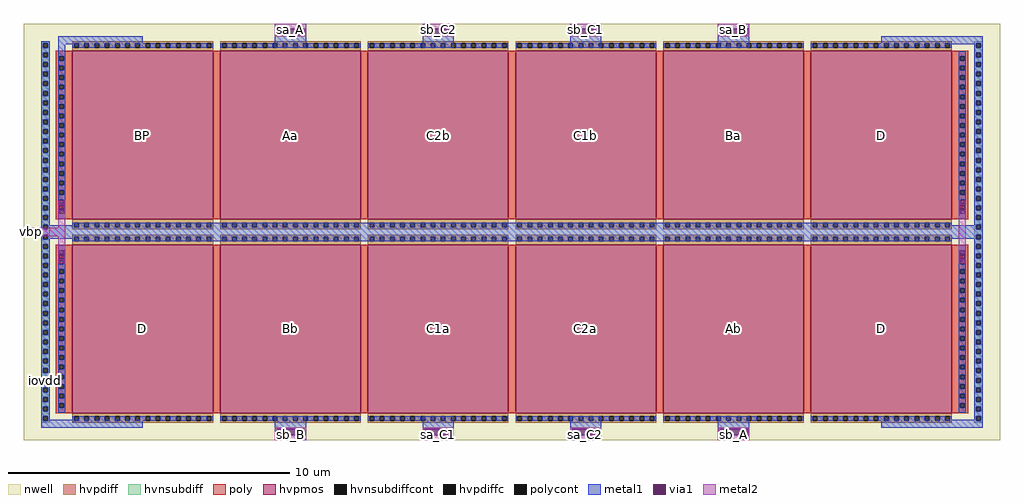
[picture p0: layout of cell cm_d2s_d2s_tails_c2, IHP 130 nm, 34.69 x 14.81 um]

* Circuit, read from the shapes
.subckt cm_d2s_d2s_tails_c2 vbp sb_B sa_C1 sa_C2 sb_A sa_A sb_C2 sb_C1 sa_B iovdd
XM1 iovdd vbp iovdd iovdd sg13_hv_pmos w=5u l=6u m=3
XM2 vbp vbp iovdd iovdd sg13_hv_pmos w=5u l=6u
XM3 iovdd vbp sb_B iovdd sg13_hv_pmos w=5u l=6u
XM4 sa_A vbp iovdd iovdd sg13_hv_pmos w=5u l=6u
XM5 iovdd vbp sa_C1 iovdd sg13_hv_pmos w=5u l=6u
XM6 sb_C2 vbp iovdd iovdd sg13_hv_pmos w=5u l=6u
XM7 iovdd vbp sa_C2 iovdd sg13_hv_pmos w=5u l=6u
XM8 sb_C1 vbp iovdd iovdd sg13_hv_pmos w=5u l=6u
XM9 iovdd vbp sb_A iovdd sg13_hv_pmos w=5u l=6u
XM10 sa_B vbp iovdd iovdd sg13_hv_pmos w=5u l=6u
.ends

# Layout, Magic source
magic
tech ihp-sg13cmos5l
magscale 1 2
<< nwell >>
rect 0 0 6938 2962
<< hvnsubdiff >>
rect 124 2823 184 2838
rect 124 2791 138 2823
rect 170 2791 184 2823
rect 124 2755 184 2791
rect 6754 2823 6814 2838
rect 6754 2791 6768 2823
rect 6800 2791 6814 2823
rect 124 2723 138 2755
rect 170 2723 184 2755
rect 124 2687 184 2723
rect 124 2655 138 2687
rect 170 2655 184 2687
rect 124 2619 184 2655
rect 124 2587 138 2619
rect 170 2587 184 2619
rect 124 2551 184 2587
rect 124 2519 138 2551
rect 170 2519 184 2551
rect 124 2483 184 2519
rect 124 2451 138 2483
rect 170 2451 184 2483
rect 124 2415 184 2451
rect 124 2383 138 2415
rect 170 2383 184 2415
rect 124 2347 184 2383
rect 124 2315 138 2347
rect 170 2315 184 2347
rect 124 2279 184 2315
rect 124 2247 138 2279
rect 170 2247 184 2279
rect 124 2211 184 2247
rect 124 2179 138 2211
rect 170 2179 184 2211
rect 124 2143 184 2179
rect 124 2111 138 2143
rect 170 2111 184 2143
rect 124 2075 184 2111
rect 124 2043 138 2075
rect 170 2043 184 2075
rect 124 2007 184 2043
rect 124 1975 138 2007
rect 170 1975 184 2007
rect 124 1939 184 1975
rect 124 1907 138 1939
rect 170 1907 184 1939
rect 124 1871 184 1907
rect 124 1839 138 1871
rect 170 1839 184 1871
rect 124 1803 184 1839
rect 124 1771 138 1803
rect 170 1771 184 1803
rect 124 1735 184 1771
rect 124 1703 138 1735
rect 170 1703 184 1735
rect 124 1667 184 1703
rect 124 1635 138 1667
rect 170 1635 184 1667
rect 124 1599 184 1635
rect 124 1567 138 1599
rect 170 1567 184 1599
rect 6754 2755 6814 2791
rect 6754 2723 6768 2755
rect 6800 2723 6814 2755
rect 6754 2687 6814 2723
rect 6754 2655 6768 2687
rect 6800 2655 6814 2687
rect 6754 2619 6814 2655
rect 6754 2587 6768 2619
rect 6800 2587 6814 2619
rect 6754 2551 6814 2587
rect 6754 2519 6768 2551
rect 6800 2519 6814 2551
rect 6754 2483 6814 2519
rect 6754 2451 6768 2483
rect 6800 2451 6814 2483
rect 6754 2415 6814 2451
rect 6754 2383 6768 2415
rect 6800 2383 6814 2415
rect 6754 2347 6814 2383
rect 6754 2315 6768 2347
rect 6800 2315 6814 2347
rect 6754 2279 6814 2315
rect 6754 2247 6768 2279
rect 6800 2247 6814 2279
rect 6754 2211 6814 2247
rect 6754 2179 6768 2211
rect 6800 2179 6814 2211
rect 6754 2143 6814 2179
rect 6754 2111 6768 2143
rect 6800 2111 6814 2143
rect 6754 2075 6814 2111
rect 6754 2043 6768 2075
rect 6800 2043 6814 2075
rect 6754 2007 6814 2043
rect 6754 1975 6768 2007
rect 6800 1975 6814 2007
rect 6754 1939 6814 1975
rect 6754 1907 6768 1939
rect 6800 1907 6814 1939
rect 6754 1871 6814 1907
rect 6754 1839 6768 1871
rect 6800 1839 6814 1871
rect 6754 1803 6814 1839
rect 6754 1771 6768 1803
rect 6800 1771 6814 1803
rect 6754 1735 6814 1771
rect 6754 1703 6768 1735
rect 6800 1703 6814 1735
rect 6754 1667 6814 1703
rect 6754 1635 6768 1667
rect 6800 1635 6814 1667
rect 6754 1599 6814 1635
rect 124 1531 184 1567
rect 124 1499 138 1531
rect 170 1499 184 1531
rect 124 1463 184 1499
rect 124 1431 138 1463
rect 170 1431 184 1463
rect 124 1395 184 1431
rect 124 1363 138 1395
rect 170 1363 184 1395
rect 6754 1567 6768 1599
rect 6800 1567 6814 1599
rect 6754 1531 6814 1567
rect 6754 1499 6768 1531
rect 6800 1499 6814 1531
rect 6754 1463 6814 1499
rect 6754 1431 6768 1463
rect 6800 1431 6814 1463
rect 6754 1395 6814 1431
rect 124 1327 184 1363
rect 124 1295 138 1327
rect 170 1295 184 1327
rect 124 1259 184 1295
rect 124 1227 138 1259
rect 170 1227 184 1259
rect 124 1191 184 1227
rect 124 1159 138 1191
rect 170 1159 184 1191
rect 124 1123 184 1159
rect 124 1091 138 1123
rect 170 1091 184 1123
rect 124 1055 184 1091
rect 124 1023 138 1055
rect 170 1023 184 1055
rect 124 987 184 1023
rect 124 955 138 987
rect 170 955 184 987
rect 124 919 184 955
rect 124 887 138 919
rect 170 887 184 919
rect 124 851 184 887
rect 124 819 138 851
rect 170 819 184 851
rect 124 783 184 819
rect 124 751 138 783
rect 170 751 184 783
rect 124 715 184 751
rect 124 683 138 715
rect 170 683 184 715
rect 124 647 184 683
rect 124 615 138 647
rect 170 615 184 647
rect 124 579 184 615
rect 124 547 138 579
rect 170 547 184 579
rect 124 511 184 547
rect 124 479 138 511
rect 170 479 184 511
rect 124 443 184 479
rect 124 411 138 443
rect 170 411 184 443
rect 124 375 184 411
rect 124 343 138 375
rect 170 343 184 375
rect 124 307 184 343
rect 124 275 138 307
rect 170 275 184 307
rect 124 239 184 275
rect 124 207 138 239
rect 170 207 184 239
rect 124 171 184 207
rect 6754 1363 6768 1395
rect 6800 1363 6814 1395
rect 6754 1327 6814 1363
rect 6754 1295 6768 1327
rect 6800 1295 6814 1327
rect 6754 1259 6814 1295
rect 6754 1227 6768 1259
rect 6800 1227 6814 1259
rect 6754 1191 6814 1227
rect 6754 1159 6768 1191
rect 6800 1159 6814 1191
rect 6754 1123 6814 1159
rect 6754 1091 6768 1123
rect 6800 1091 6814 1123
rect 6754 1055 6814 1091
rect 6754 1023 6768 1055
rect 6800 1023 6814 1055
rect 6754 987 6814 1023
rect 6754 955 6768 987
rect 6800 955 6814 987
rect 6754 919 6814 955
rect 6754 887 6768 919
rect 6800 887 6814 919
rect 6754 851 6814 887
rect 6754 819 6768 851
rect 6800 819 6814 851
rect 6754 783 6814 819
rect 6754 751 6768 783
rect 6800 751 6814 783
rect 6754 715 6814 751
rect 6754 683 6768 715
rect 6800 683 6814 715
rect 6754 647 6814 683
rect 6754 615 6768 647
rect 6800 615 6814 647
rect 6754 579 6814 615
rect 6754 547 6768 579
rect 6800 547 6814 579
rect 6754 511 6814 547
rect 6754 479 6768 511
rect 6800 479 6814 511
rect 6754 443 6814 479
rect 6754 411 6768 443
rect 6800 411 6814 443
rect 6754 375 6814 411
rect 6754 343 6768 375
rect 6800 343 6814 375
rect 6754 307 6814 343
rect 6754 275 6768 307
rect 6800 275 6814 307
rect 6754 239 6814 275
rect 6754 207 6768 239
rect 6800 207 6814 239
rect 124 139 138 171
rect 170 139 184 171
rect 124 124 184 139
rect 6754 171 6814 207
rect 6754 139 6768 171
rect 6800 139 6814 171
rect 6754 124 6814 139
<< hvnsubdiffcont >>
rect 138 2791 170 2823
rect 6768 2791 6800 2823
rect 138 2723 170 2755
rect 138 2655 170 2687
rect 138 2587 170 2619
rect 138 2519 170 2551
rect 138 2451 170 2483
rect 138 2383 170 2415
rect 138 2315 170 2347
rect 138 2247 170 2279
rect 138 2179 170 2211
rect 138 2111 170 2143
rect 138 2043 170 2075
rect 138 1975 170 2007
rect 138 1907 170 1939
rect 138 1839 170 1871
rect 138 1771 170 1803
rect 138 1703 170 1735
rect 138 1635 170 1667
rect 138 1567 170 1599
rect 6768 2723 6800 2755
rect 6768 2655 6800 2687
rect 6768 2587 6800 2619
rect 6768 2519 6800 2551
rect 6768 2451 6800 2483
rect 6768 2383 6800 2415
rect 6768 2315 6800 2347
rect 6768 2247 6800 2279
rect 6768 2179 6800 2211
rect 6768 2111 6800 2143
rect 6768 2043 6800 2075
rect 6768 1975 6800 2007
rect 6768 1907 6800 1939
rect 6768 1839 6800 1871
rect 6768 1771 6800 1803
rect 6768 1703 6800 1735
rect 6768 1635 6800 1667
rect 138 1499 170 1531
rect 138 1431 170 1463
rect 138 1363 170 1395
rect 6768 1567 6800 1599
rect 6768 1499 6800 1531
rect 6768 1431 6800 1463
rect 138 1295 170 1327
rect 138 1227 170 1259
rect 138 1159 170 1191
rect 138 1091 170 1123
rect 138 1023 170 1055
rect 138 955 170 987
rect 138 887 170 919
rect 138 819 170 851
rect 138 751 170 783
rect 138 683 170 715
rect 138 615 170 647
rect 138 547 170 579
rect 138 479 170 511
rect 138 411 170 443
rect 138 343 170 375
rect 138 275 170 307
rect 138 207 170 239
rect 6768 1363 6800 1395
rect 6768 1295 6800 1327
rect 6768 1227 6800 1259
rect 6768 1159 6800 1191
rect 6768 1091 6800 1123
rect 6768 1023 6800 1055
rect 6768 955 6800 987
rect 6768 887 6800 919
rect 6768 819 6800 851
rect 6768 751 6800 783
rect 6768 683 6800 715
rect 6768 615 6800 647
rect 6768 547 6800 579
rect 6768 479 6800 511
rect 6768 411 6800 443
rect 6768 343 6800 375
rect 6768 275 6800 307
rect 6768 207 6800 239
rect 138 139 170 171
rect 6768 139 6800 171
<< poly >>
rect 224 2730 344 2770
rect 224 2698 252 2730
rect 284 2698 344 2730
rect 224 2662 344 2698
rect 224 2630 252 2662
rect 284 2630 344 2662
rect 224 2594 344 2630
rect 224 2562 252 2594
rect 284 2562 344 2594
rect 224 2526 344 2562
rect 224 2494 252 2526
rect 284 2494 344 2526
rect 224 2458 344 2494
rect 224 2426 252 2458
rect 284 2426 344 2458
rect 224 2390 344 2426
rect 224 2358 252 2390
rect 284 2358 344 2390
rect 224 2322 344 2358
rect 224 2290 252 2322
rect 284 2290 344 2322
rect 224 2254 344 2290
rect 224 2222 252 2254
rect 284 2222 344 2254
rect 224 2186 344 2222
rect 224 2154 252 2186
rect 284 2154 344 2186
rect 224 2118 344 2154
rect 224 2086 252 2118
rect 284 2086 344 2118
rect 224 2050 344 2086
rect 224 2018 252 2050
rect 284 2018 344 2050
rect 224 1982 344 2018
rect 224 1950 252 1982
rect 284 1950 344 1982
rect 224 1914 344 1950
rect 224 1882 252 1914
rect 284 1882 344 1914
rect 224 1846 344 1882
rect 224 1814 252 1846
rect 284 1814 344 1846
rect 224 1778 344 1814
rect 224 1746 252 1778
rect 284 1746 344 1778
rect 224 1710 344 1746
rect 224 1678 252 1710
rect 284 1678 344 1710
rect 224 1642 344 1678
rect 224 1610 252 1642
rect 284 1610 344 1642
rect 224 1570 344 1610
rect 6594 2730 6714 2770
rect 6594 2698 6654 2730
rect 6686 2698 6714 2730
rect 6594 2662 6714 2698
rect 6594 2630 6654 2662
rect 6686 2630 6714 2662
rect 6594 2594 6714 2630
rect 6594 2562 6654 2594
rect 6686 2562 6714 2594
rect 6594 2526 6714 2562
rect 6594 2494 6654 2526
rect 6686 2494 6714 2526
rect 6594 2458 6714 2494
rect 6594 2426 6654 2458
rect 6686 2426 6714 2458
rect 6594 2390 6714 2426
rect 6594 2358 6654 2390
rect 6686 2358 6714 2390
rect 6594 2322 6714 2358
rect 6594 2290 6654 2322
rect 6686 2290 6714 2322
rect 6594 2254 6714 2290
rect 6594 2222 6654 2254
rect 6686 2222 6714 2254
rect 6594 2186 6714 2222
rect 6594 2154 6654 2186
rect 6686 2154 6714 2186
rect 6594 2118 6714 2154
rect 6594 2086 6654 2118
rect 6686 2086 6714 2118
rect 6594 2050 6714 2086
rect 6594 2018 6654 2050
rect 6686 2018 6714 2050
rect 6594 1982 6714 2018
rect 6594 1950 6654 1982
rect 6686 1950 6714 1982
rect 6594 1914 6714 1950
rect 6594 1882 6654 1914
rect 6686 1882 6714 1914
rect 6594 1846 6714 1882
rect 6594 1814 6654 1846
rect 6686 1814 6714 1846
rect 6594 1778 6714 1814
rect 6594 1746 6654 1778
rect 6686 1746 6714 1778
rect 6594 1710 6714 1746
rect 6594 1678 6654 1710
rect 6686 1678 6714 1710
rect 6594 1642 6714 1678
rect 6594 1610 6654 1642
rect 6686 1610 6714 1642
rect 6594 1570 6714 1610
rect 224 1352 344 1392
rect 224 1320 252 1352
rect 284 1320 344 1352
rect 224 1284 344 1320
rect 224 1252 252 1284
rect 284 1252 344 1284
rect 224 1216 344 1252
rect 224 1184 252 1216
rect 284 1184 344 1216
rect 224 1148 344 1184
rect 224 1116 252 1148
rect 284 1116 344 1148
rect 224 1080 344 1116
rect 224 1048 252 1080
rect 284 1048 344 1080
rect 224 1012 344 1048
rect 224 980 252 1012
rect 284 980 344 1012
rect 224 944 344 980
rect 224 912 252 944
rect 284 912 344 944
rect 224 876 344 912
rect 224 844 252 876
rect 284 844 344 876
rect 224 808 344 844
rect 224 776 252 808
rect 284 776 344 808
rect 224 740 344 776
rect 224 708 252 740
rect 284 708 344 740
rect 224 672 344 708
rect 224 640 252 672
rect 284 640 344 672
rect 224 604 344 640
rect 224 572 252 604
rect 284 572 344 604
rect 224 536 344 572
rect 224 504 252 536
rect 284 504 344 536
rect 224 468 344 504
rect 224 436 252 468
rect 284 436 344 468
rect 224 400 344 436
rect 224 368 252 400
rect 284 368 344 400
rect 224 332 344 368
rect 224 300 252 332
rect 284 300 344 332
rect 224 264 344 300
rect 224 232 252 264
rect 284 232 344 264
rect 224 192 344 232
rect 6594 1352 6714 1392
rect 6594 1320 6654 1352
rect 6686 1320 6714 1352
rect 6594 1284 6714 1320
rect 6594 1252 6654 1284
rect 6686 1252 6714 1284
rect 6594 1216 6714 1252
rect 6594 1184 6654 1216
rect 6686 1184 6714 1216
rect 6594 1148 6714 1184
rect 6594 1116 6654 1148
rect 6686 1116 6714 1148
rect 6594 1080 6714 1116
rect 6594 1048 6654 1080
rect 6686 1048 6714 1080
rect 6594 1012 6714 1048
rect 6594 980 6654 1012
rect 6686 980 6714 1012
rect 6594 944 6714 980
rect 6594 912 6654 944
rect 6686 912 6714 944
rect 6594 876 6714 912
rect 6594 844 6654 876
rect 6686 844 6714 876
rect 6594 808 6714 844
rect 6594 776 6654 808
rect 6686 776 6714 808
rect 6594 740 6714 776
rect 6594 708 6654 740
rect 6686 708 6714 740
rect 6594 672 6714 708
rect 6594 640 6654 672
rect 6686 640 6714 672
rect 6594 604 6714 640
rect 6594 572 6654 604
rect 6686 572 6714 604
rect 6594 536 6714 572
rect 6594 504 6654 536
rect 6686 504 6714 536
rect 6594 468 6714 504
rect 6594 436 6654 468
rect 6686 436 6714 468
rect 6594 400 6714 436
rect 6594 368 6654 400
rect 6686 368 6714 400
rect 6594 332 6714 368
rect 6594 300 6654 332
rect 6686 300 6714 332
rect 6594 264 6714 300
rect 6594 232 6654 264
rect 6686 232 6714 264
rect 6594 192 6714 232
<< polycont >>
rect 252 2698 284 2730
rect 252 2630 284 2662
rect 252 2562 284 2594
rect 252 2494 284 2526
rect 252 2426 284 2458
rect 252 2358 284 2390
rect 252 2290 284 2322
rect 252 2222 284 2254
rect 252 2154 284 2186
rect 252 2086 284 2118
rect 252 2018 284 2050
rect 252 1950 284 1982
rect 252 1882 284 1914
rect 252 1814 284 1846
rect 252 1746 284 1778
rect 252 1678 284 1710
rect 252 1610 284 1642
rect 6654 2698 6686 2730
rect 6654 2630 6686 2662
rect 6654 2562 6686 2594
rect 6654 2494 6686 2526
rect 6654 2426 6686 2458
rect 6654 2358 6686 2390
rect 6654 2290 6686 2322
rect 6654 2222 6686 2254
rect 6654 2154 6686 2186
rect 6654 2086 6686 2118
rect 6654 2018 6686 2050
rect 6654 1950 6686 1982
rect 6654 1882 6686 1914
rect 6654 1814 6686 1846
rect 6654 1746 6686 1778
rect 6654 1678 6686 1710
rect 6654 1610 6686 1642
rect 252 1320 284 1352
rect 252 1252 284 1284
rect 252 1184 284 1216
rect 252 1116 284 1148
rect 252 1048 284 1080
rect 252 980 284 1012
rect 252 912 284 944
rect 252 844 284 876
rect 252 776 284 808
rect 252 708 284 740
rect 252 640 284 672
rect 252 572 284 604
rect 252 504 284 536
rect 252 436 284 468
rect 252 368 284 400
rect 252 300 284 332
rect 252 232 284 264
rect 6654 1320 6686 1352
rect 6654 1252 6686 1284
rect 6654 1184 6686 1216
rect 6654 1116 6686 1148
rect 6654 1048 6686 1080
rect 6654 980 6686 1012
rect 6654 912 6686 944
rect 6654 844 6686 876
rect 6654 776 6686 808
rect 6654 708 6686 740
rect 6654 640 6686 672
rect 6654 572 6686 604
rect 6654 504 6686 536
rect 6654 436 6686 468
rect 6654 368 6686 400
rect 6654 300 6686 332
rect 6654 232 6686 264
<< metal1 >>
rect 1783 2922 2005 2931
rect 1783 2882 1792 2922
rect 1996 2882 2005 2922
rect 124 2823 184 2838
rect 124 2791 138 2823
rect 170 2791 184 2823
rect 124 2755 184 2791
rect 124 2723 138 2755
rect 170 2723 184 2755
rect 124 2687 184 2723
rect 124 2655 138 2687
rect 170 2655 184 2687
rect 124 2619 184 2655
rect 124 2587 138 2619
rect 170 2587 184 2619
rect 124 2551 184 2587
rect 124 2519 138 2551
rect 170 2519 184 2551
rect 124 2483 184 2519
rect 124 2451 138 2483
rect 170 2451 184 2483
rect 124 2415 184 2451
rect 124 2383 138 2415
rect 170 2383 184 2415
rect 124 2347 184 2383
rect 124 2315 138 2347
rect 170 2315 184 2347
rect 124 2279 184 2315
rect 124 2247 138 2279
rect 170 2247 184 2279
rect 124 2211 184 2247
rect 124 2179 138 2211
rect 170 2179 184 2211
rect 124 2143 184 2179
rect 124 2111 138 2143
rect 170 2111 184 2143
rect 124 2075 184 2111
rect 124 2043 138 2075
rect 170 2043 184 2075
rect 124 2007 184 2043
rect 124 1975 138 2007
rect 170 1975 184 2007
rect 124 1939 184 1975
rect 124 1907 138 1939
rect 170 1907 184 1939
rect 124 1871 184 1907
rect 124 1839 138 1871
rect 170 1839 184 1871
rect 124 1803 184 1839
rect 124 1771 138 1803
rect 170 1771 184 1803
rect 124 1735 184 1771
rect 124 1703 138 1735
rect 170 1703 184 1735
rect 124 1667 184 1703
rect 124 1635 138 1667
rect 170 1635 184 1667
rect 124 1599 184 1635
rect 124 1567 138 1599
rect 170 1567 184 1599
rect 242 2814 844 2872
rect 242 2730 294 2814
rect 1783 2792 2005 2882
rect 2833 2922 3055 2931
rect 2833 2882 2842 2922
rect 3046 2882 3055 2922
rect 2833 2792 3055 2882
rect 3883 2922 4105 2931
rect 3883 2882 3892 2922
rect 4096 2882 4105 2922
rect 3883 2792 4105 2882
rect 4933 2922 5155 2931
rect 4933 2882 4942 2922
rect 5146 2882 5155 2922
rect 4933 2792 5155 2882
rect 6094 2823 6814 2872
rect 6094 2814 6768 2823
rect 6754 2791 6768 2814
rect 6800 2791 6814 2823
rect 242 2698 252 2730
rect 284 2698 294 2730
rect 242 2662 294 2698
rect 242 2630 252 2662
rect 284 2630 294 2662
rect 242 2594 294 2630
rect 242 2562 252 2594
rect 284 2562 294 2594
rect 242 2526 294 2562
rect 242 2494 252 2526
rect 284 2494 294 2526
rect 242 2458 294 2494
rect 242 2426 252 2458
rect 284 2426 294 2458
rect 242 2390 294 2426
rect 242 2358 252 2390
rect 284 2358 294 2390
rect 242 2322 294 2358
rect 242 2290 252 2322
rect 284 2290 294 2322
rect 242 2254 294 2290
rect 242 2222 252 2254
rect 284 2222 294 2254
rect 242 2186 294 2222
rect 242 2154 252 2186
rect 284 2154 294 2186
rect 242 2118 294 2154
rect 242 2086 252 2118
rect 284 2086 294 2118
rect 242 2050 294 2086
rect 242 2018 252 2050
rect 284 2018 294 2050
rect 242 1982 294 2018
rect 242 1950 252 1982
rect 284 1950 294 1982
rect 242 1914 294 1950
rect 242 1882 252 1914
rect 284 1882 294 1914
rect 242 1846 294 1882
rect 242 1814 252 1846
rect 284 1814 294 1846
rect 242 1778 294 1814
rect 242 1746 252 1778
rect 284 1746 294 1778
rect 242 1710 294 1746
rect 242 1678 252 1710
rect 284 1678 294 1710
rect 242 1673 294 1678
rect 242 1633 248 1673
rect 288 1633 294 1673
rect 242 1610 252 1633
rect 284 1610 294 1633
rect 242 1574 294 1610
rect 6644 2730 6696 2766
rect 6644 2698 6654 2730
rect 6686 2698 6696 2730
rect 6644 2662 6696 2698
rect 6644 2630 6654 2662
rect 6686 2630 6696 2662
rect 6644 2594 6696 2630
rect 6644 2562 6654 2594
rect 6686 2562 6696 2594
rect 6644 2526 6696 2562
rect 6644 2494 6654 2526
rect 6686 2494 6696 2526
rect 6644 2458 6696 2494
rect 6644 2426 6654 2458
rect 6686 2426 6696 2458
rect 6644 2390 6696 2426
rect 6644 2358 6654 2390
rect 6686 2358 6696 2390
rect 6644 2322 6696 2358
rect 6644 2290 6654 2322
rect 6686 2290 6696 2322
rect 6644 2254 6696 2290
rect 6644 2222 6654 2254
rect 6686 2222 6696 2254
rect 6644 2186 6696 2222
rect 6644 2154 6654 2186
rect 6686 2154 6696 2186
rect 6644 2118 6696 2154
rect 6644 2086 6654 2118
rect 6686 2086 6696 2118
rect 6644 2050 6696 2086
rect 6644 2018 6654 2050
rect 6686 2018 6696 2050
rect 6644 1982 6696 2018
rect 6644 1950 6654 1982
rect 6686 1950 6696 1982
rect 6644 1914 6696 1950
rect 6644 1882 6654 1914
rect 6686 1882 6696 1914
rect 6644 1846 6696 1882
rect 6644 1814 6654 1846
rect 6686 1814 6696 1846
rect 6644 1778 6696 1814
rect 6644 1746 6654 1778
rect 6686 1746 6696 1778
rect 6644 1710 6696 1746
rect 6644 1678 6654 1710
rect 6686 1678 6696 1710
rect 6644 1673 6696 1678
rect 6644 1633 6650 1673
rect 6690 1633 6696 1673
rect 6644 1610 6654 1633
rect 6686 1610 6696 1633
rect 6644 1574 6696 1610
rect 6754 2755 6814 2791
rect 6754 2723 6768 2755
rect 6800 2723 6814 2755
rect 6754 2687 6814 2723
rect 6754 2655 6768 2687
rect 6800 2655 6814 2687
rect 6754 2619 6814 2655
rect 6754 2587 6768 2619
rect 6800 2587 6814 2619
rect 6754 2551 6814 2587
rect 6754 2519 6768 2551
rect 6800 2519 6814 2551
rect 6754 2483 6814 2519
rect 6754 2451 6768 2483
rect 6800 2451 6814 2483
rect 6754 2415 6814 2451
rect 6754 2383 6768 2415
rect 6800 2383 6814 2415
rect 6754 2347 6814 2383
rect 6754 2315 6768 2347
rect 6800 2315 6814 2347
rect 6754 2279 6814 2315
rect 6754 2247 6768 2279
rect 6800 2247 6814 2279
rect 6754 2211 6814 2247
rect 6754 2179 6768 2211
rect 6800 2179 6814 2211
rect 6754 2143 6814 2179
rect 6754 2111 6768 2143
rect 6800 2111 6814 2143
rect 6754 2075 6814 2111
rect 6754 2043 6768 2075
rect 6800 2043 6814 2075
rect 6754 2007 6814 2043
rect 6754 1975 6768 2007
rect 6800 1975 6814 2007
rect 6754 1939 6814 1975
rect 6754 1907 6768 1939
rect 6800 1907 6814 1939
rect 6754 1871 6814 1907
rect 6754 1839 6768 1871
rect 6800 1839 6814 1871
rect 6754 1803 6814 1839
rect 6754 1771 6768 1803
rect 6800 1771 6814 1803
rect 6754 1735 6814 1771
rect 6754 1703 6768 1735
rect 6800 1703 6814 1735
rect 6754 1667 6814 1703
rect 6754 1635 6768 1667
rect 6800 1635 6814 1667
rect 6754 1599 6814 1635
rect 124 1531 184 1567
rect 6754 1567 6768 1599
rect 6800 1567 6814 1599
rect 124 1499 138 1531
rect 170 1530 184 1531
rect 344 1530 6594 1548
rect 6754 1531 6814 1567
rect 6754 1530 6768 1531
rect 170 1499 6768 1530
rect 6800 1499 6814 1531
rect 124 1463 6814 1499
rect 124 1431 138 1463
rect 170 1432 6768 1463
rect 170 1431 184 1432
rect 124 1395 184 1431
rect 344 1414 6594 1432
rect 6754 1431 6768 1432
rect 6800 1431 6814 1463
rect 124 1363 138 1395
rect 170 1363 184 1395
rect 6754 1395 6814 1431
rect 124 1327 184 1363
rect 124 1295 138 1327
rect 170 1295 184 1327
rect 124 1259 184 1295
rect 124 1227 138 1259
rect 170 1227 184 1259
rect 124 1191 184 1227
rect 124 1159 138 1191
rect 170 1159 184 1191
rect 124 1123 184 1159
rect 124 1091 138 1123
rect 170 1091 184 1123
rect 124 1055 184 1091
rect 124 1023 138 1055
rect 170 1023 184 1055
rect 124 987 184 1023
rect 124 955 138 987
rect 170 955 184 987
rect 124 919 184 955
rect 124 887 138 919
rect 170 887 184 919
rect 124 851 184 887
rect 124 819 138 851
rect 170 819 184 851
rect 124 783 184 819
rect 124 751 138 783
rect 170 751 184 783
rect 124 715 184 751
rect 124 683 138 715
rect 170 683 184 715
rect 124 647 184 683
rect 124 615 138 647
rect 170 615 184 647
rect 124 579 184 615
rect 124 547 138 579
rect 170 547 184 579
rect 124 511 184 547
rect 124 479 138 511
rect 170 479 184 511
rect 124 443 184 479
rect 124 411 138 443
rect 170 411 184 443
rect 124 375 184 411
rect 124 343 138 375
rect 170 343 184 375
rect 124 307 184 343
rect 124 275 138 307
rect 170 275 184 307
rect 124 239 184 275
rect 124 207 138 239
rect 170 207 184 239
rect 124 171 184 207
rect 242 1352 294 1388
rect 242 1329 252 1352
rect 284 1329 294 1352
rect 242 1289 248 1329
rect 288 1289 294 1329
rect 242 1284 294 1289
rect 242 1252 252 1284
rect 284 1252 294 1284
rect 242 1216 294 1252
rect 242 1184 252 1216
rect 284 1184 294 1216
rect 242 1148 294 1184
rect 242 1116 252 1148
rect 284 1116 294 1148
rect 242 1080 294 1116
rect 242 1048 252 1080
rect 284 1048 294 1080
rect 242 1012 294 1048
rect 242 980 252 1012
rect 284 980 294 1012
rect 242 944 294 980
rect 242 912 252 944
rect 284 912 294 944
rect 242 876 294 912
rect 242 844 252 876
rect 284 844 294 876
rect 242 808 294 844
rect 242 776 252 808
rect 284 776 294 808
rect 242 740 294 776
rect 242 708 252 740
rect 284 708 294 740
rect 242 672 294 708
rect 242 640 252 672
rect 284 640 294 672
rect 242 604 294 640
rect 242 572 252 604
rect 284 572 294 604
rect 242 536 294 572
rect 242 504 252 536
rect 284 504 294 536
rect 242 468 294 504
rect 242 436 252 468
rect 284 436 294 468
rect 242 400 294 436
rect 242 368 252 400
rect 284 368 294 400
rect 242 332 294 368
rect 242 300 252 332
rect 284 300 294 332
rect 242 264 294 300
rect 242 232 252 264
rect 284 232 294 264
rect 242 196 294 232
rect 6644 1352 6696 1388
rect 6644 1329 6654 1352
rect 6686 1329 6696 1352
rect 6644 1289 6650 1329
rect 6690 1289 6696 1329
rect 6644 1284 6696 1289
rect 6644 1252 6654 1284
rect 6686 1252 6696 1284
rect 6644 1216 6696 1252
rect 6644 1184 6654 1216
rect 6686 1184 6696 1216
rect 6644 1148 6696 1184
rect 6644 1116 6654 1148
rect 6686 1116 6696 1148
rect 6644 1080 6696 1116
rect 6644 1048 6654 1080
rect 6686 1048 6696 1080
rect 6644 1012 6696 1048
rect 6644 980 6654 1012
rect 6686 980 6696 1012
rect 6644 944 6696 980
rect 6644 912 6654 944
rect 6686 912 6696 944
rect 6644 876 6696 912
rect 6644 844 6654 876
rect 6686 844 6696 876
rect 6644 808 6696 844
rect 6644 776 6654 808
rect 6686 776 6696 808
rect 6644 740 6696 776
rect 6644 708 6654 740
rect 6686 708 6696 740
rect 6644 672 6696 708
rect 6644 640 6654 672
rect 6686 640 6696 672
rect 6644 604 6696 640
rect 6644 572 6654 604
rect 6686 572 6696 604
rect 6644 536 6696 572
rect 6644 504 6654 536
rect 6686 504 6696 536
rect 6644 468 6696 504
rect 6644 436 6654 468
rect 6686 436 6696 468
rect 6644 400 6696 436
rect 6644 368 6654 400
rect 6686 368 6696 400
rect 6644 332 6696 368
rect 6644 300 6654 332
rect 6686 300 6696 332
rect 6644 264 6696 300
rect 6644 232 6654 264
rect 6686 232 6696 264
rect 6644 196 6696 232
rect 6754 1363 6768 1395
rect 6800 1363 6814 1395
rect 6754 1327 6814 1363
rect 6754 1295 6768 1327
rect 6800 1295 6814 1327
rect 6754 1259 6814 1295
rect 6754 1227 6768 1259
rect 6800 1227 6814 1259
rect 6754 1191 6814 1227
rect 6754 1159 6768 1191
rect 6800 1159 6814 1191
rect 6754 1123 6814 1159
rect 6754 1091 6768 1123
rect 6800 1091 6814 1123
rect 6754 1055 6814 1091
rect 6754 1023 6768 1055
rect 6800 1023 6814 1055
rect 6754 987 6814 1023
rect 6754 955 6768 987
rect 6800 955 6814 987
rect 6754 919 6814 955
rect 6754 887 6768 919
rect 6800 887 6814 919
rect 6754 851 6814 887
rect 6754 819 6768 851
rect 6800 819 6814 851
rect 6754 783 6814 819
rect 6754 751 6768 783
rect 6800 751 6814 783
rect 6754 715 6814 751
rect 6754 683 6768 715
rect 6800 683 6814 715
rect 6754 647 6814 683
rect 6754 615 6768 647
rect 6800 615 6814 647
rect 6754 579 6814 615
rect 6754 547 6768 579
rect 6800 547 6814 579
rect 6754 511 6814 547
rect 6754 479 6768 511
rect 6800 479 6814 511
rect 6754 443 6814 479
rect 6754 411 6768 443
rect 6800 411 6814 443
rect 6754 375 6814 411
rect 6754 343 6768 375
rect 6800 343 6814 375
rect 6754 307 6814 343
rect 6754 275 6768 307
rect 6800 275 6814 307
rect 6754 239 6814 275
rect 6754 207 6768 239
rect 6800 207 6814 239
rect 124 139 138 171
rect 170 148 184 171
rect 6754 171 6814 207
rect 170 139 844 148
rect 124 90 844 139
rect 1783 80 2005 170
rect 1783 40 1792 80
rect 1996 40 2005 80
rect 1783 31 2005 40
rect 2833 80 3055 170
rect 2833 40 2842 80
rect 3046 40 3055 80
rect 2833 31 3055 40
rect 3883 80 4105 170
rect 3883 40 3892 80
rect 4096 40 4105 80
rect 3883 31 4105 40
rect 4933 80 5155 170
rect 6754 148 6768 171
rect 6094 139 6768 148
rect 6800 139 6814 171
rect 6094 90 6814 139
rect 4933 40 4942 80
rect 5146 40 5155 80
rect 4933 31 5155 40
<< via1 >>
rect 1792 2882 1996 2922
rect 2842 2882 3046 2922
rect 3892 2882 4096 2922
rect 4942 2882 5146 2922
rect 248 1642 288 1673
rect 248 1633 252 1642
rect 252 1633 284 1642
rect 284 1633 288 1642
rect 6650 1642 6690 1673
rect 6650 1633 6654 1642
rect 6654 1633 6686 1642
rect 6686 1633 6690 1642
rect 248 1320 252 1329
rect 252 1320 284 1329
rect 284 1320 288 1329
rect 248 1289 288 1320
rect 6650 1320 6654 1329
rect 6654 1320 6686 1329
rect 6686 1320 6690 1329
rect 6650 1289 6690 1320
rect 1792 40 1996 80
rect 2842 40 3046 80
rect 3892 40 4096 80
rect 4942 40 5146 80
<< metal2 >>
rect 1783 2922 2005 2962
rect 1783 2882 1792 2922
rect 1996 2882 2005 2922
rect 1783 2873 2005 2882
rect 2833 2922 3055 2962
rect 2833 2882 2842 2922
rect 3046 2882 3055 2922
rect 2833 2873 3055 2882
rect 3883 2922 4105 2962
rect 3883 2882 3892 2922
rect 4096 2882 4105 2922
rect 3883 2873 4105 2882
rect 4933 2922 5155 2962
rect 4933 2882 4942 2922
rect 5146 2882 5155 2922
rect 4933 2873 5155 2882
rect 242 1673 294 1704
rect 242 1633 248 1673
rect 288 1633 294 1673
rect 242 1511 294 1633
rect 0 1451 294 1511
rect 242 1329 294 1451
rect 242 1289 248 1329
rect 288 1289 294 1329
rect 242 1258 294 1289
rect 6644 1673 6696 1704
rect 6644 1633 6650 1673
rect 6690 1633 6696 1673
rect 6644 1329 6696 1633
rect 6644 1289 6650 1329
rect 6690 1289 6696 1329
rect 6644 1258 6696 1289
rect 1783 80 2005 89
rect 1783 40 1792 80
rect 1996 40 2005 80
rect 1783 0 2005 40
rect 2833 80 3055 89
rect 2833 40 2842 80
rect 3046 40 3055 80
rect 2833 0 3055 40
rect 3883 80 4105 89
rect 3883 40 3892 80
rect 4096 40 4105 80
rect 3883 0 4105 40
rect 4933 80 5155 89
rect 4933 40 4942 80
rect 5146 40 5155 80
rect 4933 0 5155 40
use cm_d2s_pmosHV_w5_l6  cm_d2s_pmosHV_w5_l6_0
transform 0 -1 6594 -1 0 1460
box -124 -124 1460 1124
use cm_d2s_pmosHV_w5_l6  cm_d2s_pmosHV_w5_l6_1
transform 0 -1 5544 -1 0 1460
box -124 -124 1460 1124
use cm_d2s_pmosHV_w5_l6  cm_d2s_pmosHV_w5_l6_2
transform 0 -1 4494 -1 0 1460
box -124 -124 1460 1124
use cm_d2s_pmosHV_w5_l6  cm_d2s_pmosHV_w5_l6_3
transform 0 1 2444 1 0 1502
box -124 -124 1460 1124
use cm_d2s_pmosHV_w5_l6  cm_d2s_pmosHV_w5_l6_4
transform 0 1 1394 1 0 1502
box -124 -124 1460 1124
use cm_d2s_pmosHV_w5_l6  cm_d2s_pmosHV_w5_l6_5
transform 0 1 344 1 0 1502
box -124 -124 1460 1124
use cm_d2s_pmosHV_w5_l6  cm_d2s_pmosHV_w5_l6_6
transform 0 1 2444 -1 0 1460
box -124 -124 1460 1124
use cm_d2s_pmosHV_w5_l6  cm_d2s_pmosHV_w5_l6_7
transform 0 1 1394 -1 0 1460
box -124 -124 1460 1124
use cm_d2s_pmosHV_w5_l6  cm_d2s_pmosHV_w5_l6_8
transform 0 1 344 -1 0 1460
box -124 -124 1460 1124
use cm_d2s_pmosHV_w5_l6  cm_d2s_pmosHV_w5_l6_9
transform 0 -1 6594 1 0 1502
box -124 -124 1460 1124
use cm_d2s_pmosHV_w5_l6  cm_d2s_pmosHV_w5_l6_10
transform 0 -1 5544 1 0 1502
box -124 -124 1460 1124
use cm_d2s_pmosHV_w5_l6  cm_d2s_pmosHV_w5_l6_11
transform 0 -1 4494 1 0 1502
box -124 -124 1460 1124
<< labels >>
rlabel comment s 844 792 844 792 4 D
rlabel comment s 1894 792 1894 792 4 Bb
rlabel comment s 2944 792 2944 792 4 C1a
rlabel comment s 3994 792 3994 792 4 C2a
rlabel comment s 5044 792 5044 792 4 Ab
rlabel comment s 6094 792 6094 792 4 D
rlabel comment s 844 2170 844 2170 4 BP
rlabel comment s 1894 2170 1894 2170 4 Aa
rlabel comment s 2944 2170 2944 2170 4 C2b
rlabel comment s 3994 2170 3994 2170 4 C1b
rlabel comment s 5044 2170 5044 2170 4 Ba
rlabel comment s 6094 2170 6094 2170 4 D
rlabel metal2 s 0 1451 100 1511 4 vbp
port 2 nsew
rlabel metal2 s 1783 0 2005 89 4 sb_B
port 3 nsew
rlabel metal2 s 2833 0 3055 89 4 sa_C1
port 4 nsew
rlabel metal2 s 3883 0 4105 89 4 sa_C2
port 5 nsew
rlabel metal2 s 4933 0 5155 89 4 sb_A
port 6 nsew
rlabel metal2 s 1783 2873 2005 2962 4 sa_A
port 7 nsew
rlabel metal2 s 2833 2873 3055 2962 4 sb_C2
port 8 nsew
rlabel metal2 s 3883 2873 4105 2962 4 sb_C1
port 9 nsew
rlabel metal2 s 4933 2873 5155 2962 4 sa_B
port 10 nsew
rlabel metal1 s 124 224 184 624 4 iovdd
port 11 nsew
<< properties >>
string GDS_END 86470
string GDS_FILE custom_io/gds/sg13cmos5l_IOPadDiff2Single.uniq.gds
string GDS_START 70384
<< end >>

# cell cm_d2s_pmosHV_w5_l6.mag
magic
tech ihp-sg13cmos5l
magscale 1 2
<< nwell >>
rect -124 -124 1460 1124
<< hvpmos >>
rect 68 0 1268 1000
<< hvpdiff >>
rect 0 986 68 1000
rect 0 954 14 986
rect 46 954 68 986
rect 0 913 68 954
rect 0 881 14 913
rect 46 881 68 913
rect 0 841 68 881
rect 0 809 14 841
rect 46 809 68 841
rect 0 769 68 809
rect 0 737 14 769
rect 46 737 68 769
rect 0 696 68 737
rect 0 664 14 696
rect 46 664 68 696
rect 0 624 68 664
rect 0 592 14 624
rect 46 592 68 624
rect 0 552 68 592
rect 0 520 14 552
rect 46 520 68 552
rect 0 479 68 520
rect 0 447 14 479
rect 46 447 68 479
rect 0 407 68 447
rect 0 375 14 407
rect 46 375 68 407
rect 0 335 68 375
rect 0 303 14 335
rect 46 303 68 335
rect 0 262 68 303
rect 0 230 14 262
rect 46 230 68 262
rect 0 190 68 230
rect 0 158 14 190
rect 46 158 68 190
rect 0 118 68 158
rect 0 86 14 118
rect 46 86 68 118
rect 0 46 68 86
rect 0 14 14 46
rect 46 14 68 46
rect 0 0 68 14
rect 1268 986 1336 1000
rect 1268 954 1290 986
rect 1322 954 1336 986
rect 1268 913 1336 954
rect 1268 881 1290 913
rect 1322 881 1336 913
rect 1268 841 1336 881
rect 1268 809 1290 841
rect 1322 809 1336 841
rect 1268 769 1336 809
rect 1268 737 1290 769
rect 1322 737 1336 769
rect 1268 696 1336 737
rect 1268 664 1290 696
rect 1322 664 1336 696
rect 1268 624 1336 664
rect 1268 592 1290 624
rect 1322 592 1336 624
rect 1268 552 1336 592
rect 1268 520 1290 552
rect 1322 520 1336 552
rect 1268 479 1336 520
rect 1268 447 1290 479
rect 1322 447 1336 479
rect 1268 407 1336 447
rect 1268 375 1290 407
rect 1322 375 1336 407
rect 1268 335 1336 375
rect 1268 303 1290 335
rect 1322 303 1336 335
rect 1268 262 1336 303
rect 1268 230 1290 262
rect 1322 230 1336 262
rect 1268 190 1336 230
rect 1268 158 1290 190
rect 1322 158 1336 190
rect 1268 118 1336 158
rect 1268 86 1290 118
rect 1322 86 1336 118
rect 1268 46 1336 86
rect 1268 14 1290 46
rect 1322 14 1336 46
rect 1268 0 1336 14
<< hvpdiffc >>
rect 14 954 46 986
rect 14 881 46 913
rect 14 809 46 841
rect 14 737 46 769
rect 14 664 46 696
rect 14 592 46 624
rect 14 520 46 552
rect 14 447 46 479
rect 14 375 46 407
rect 14 303 46 335
rect 14 230 46 262
rect 14 158 46 190
rect 14 86 46 118
rect 14 14 46 46
rect 1290 954 1322 986
rect 1290 881 1322 913
rect 1290 809 1322 841
rect 1290 737 1322 769
rect 1290 664 1322 696
rect 1290 592 1322 624
rect 1290 520 1322 552
rect 1290 447 1322 479
rect 1290 375 1322 407
rect 1290 303 1322 335
rect 1290 230 1322 262
rect 1290 158 1322 190
rect 1290 86 1322 118
rect 1290 14 1322 46
<< poly >>
rect 68 1000 1268 1036
rect 68 -36 1268 0
<< metal1 >>
rect 14 986 46 1000
rect 14 913 46 954
rect 14 841 46 881
rect 14 769 46 809
rect 14 696 46 737
rect 14 624 46 664
rect 14 552 46 592
rect 14 479 46 520
rect 14 407 46 447
rect 14 335 46 375
rect 14 262 46 303
rect 14 190 46 230
rect 14 118 46 158
rect 14 46 46 86
rect 14 0 46 14
rect 1290 986 1322 1000
rect 1290 913 1322 954
rect 1290 841 1322 881
rect 1290 769 1322 809
rect 1290 696 1322 737
rect 1290 624 1322 664
rect 1290 552 1322 592
rect 1290 479 1322 520
rect 1290 407 1322 447
rect 1290 335 1322 375
rect 1290 262 1322 303
rect 1290 190 1322 230
rect 1290 118 1322 158
rect 1290 46 1322 86
rect 1290 0 1322 14
<< labels >>
flabel comment s 668 500 668 500 0 FreeSans 200 90 0 0 pmosHV
<< properties >>
string GDS_END 15004
string GDS_FILE custom_io/gds/sg13cmos5l_IOPadDiff2Single.uniq.gds
string GDS_START 12234
<< end >>
